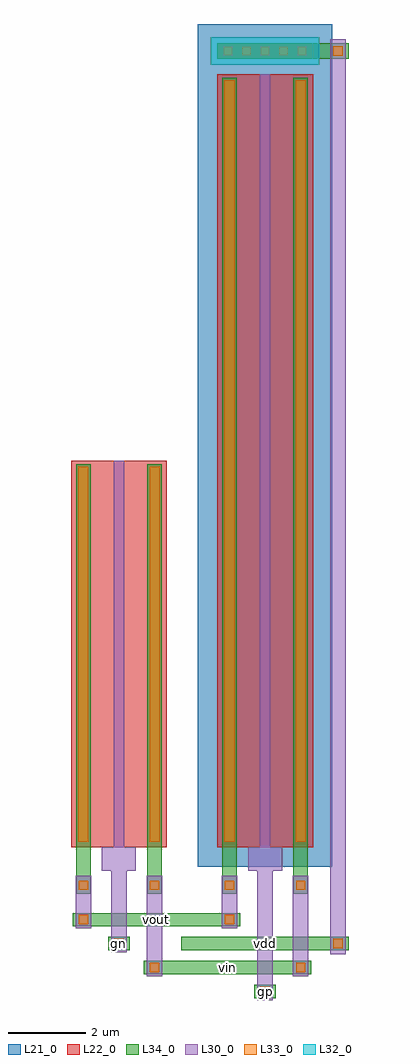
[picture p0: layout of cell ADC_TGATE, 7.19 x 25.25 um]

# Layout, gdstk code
import gdstk
lib = gdstk.Library(unit=1e-6, precision=1e-09)
def R(c, l, rs):  # rectangles x0, y0, x1, y1
    for r in rs: c.add(gdstk.rectangle(r[:2], r[2:], *l))
def A(c, l, x, y, w, h, nx, ny, dx, dy):  # array of equal rectangles
    R(c, l, [(x+i*dx, y+j*dy, x+i*dx+w, y+j*dy+h) for i in range(nx) for j in range(ny)])
L21_0 = (21, 0)
L22_0 = (22, 0)
L30_0 = (30, 0)
L32_0 = (32, 0)
L33_0 = (33, 0)
L34_0 = (34, 0)

adc_tgate = lib.new_cell('ADC_TGATE')
R(adc_tgate, L21_0, [(3.28,-0.5,6.76,21.3)])
R(adc_tgate, L22_0, [(0,0,2.48,10), (3.78,0,6.26,20), (3.78,20.4,6.26,20.8)])
R(adc_tgate, L30_0, [(4.82,-3.95,5.22,-1.2), (1.96,-3.33,2.36,-1.2), (5.74,-3.33,6.14,-1.2), (6.71,-2.76,7.11,20.9), (1.04,-2.71,1.44,-1.2), (0.12,-2.09,0.52,-1.2), (3.9,-2.09,4.3,-1.2), (0.12,-1.2,0.52,-0.74), (1.04,-1.2,1.44,-0.6), (1.96,-1.2,2.36,-0.74), (3.9,-1.2,4.3,-0.74), (4.82,-1.2,5.22,-0.6), (5.74,-1.2,6.14,-0.74), (0.8,-0.6,1.68,0), (4.58,-0.6,5.46,0), (1.1,0,1.38,10), (4.88,0,5.16,20)])
R(adc_tgate, L32_0, [(3.62,20.24,6.42,20.96)])
A(adc_tgate, L33_0, 3.95, 20.49, 0.22, 0.22, 5, 1, 0.48, 0)
R(adc_tgate, L33_0, [(4.9,-3.85,5.14,-3.61), (2.04,-3.23,2.28,-2.99), (5.82,-3.23,6.06,-2.99), (1.12,-2.61,1.36,-2.37), (6.79,-2.61,7.03,-2.37), (0.2,-1.99,0.44,-1.75), (3.98,-1.99,4.22,-1.75), (0.2,-1.1,0.44,-0.86), (2.04,-1.1,2.28,-0.86), (3.98,-1.1,4.22,-0.86), (5.82,-1.1,6.06,-0.86), (0.19,0.15,0.45,9.85), (2.03,0.15,2.29,9.85), (3.97,0.15,4.23,19.85), (5.81,0.15,6.07,19.85), (6.79,20.48,7.03,20.72)])
R(adc_tgate, L34_0, [(4.74,-3.9,5.3,-3.56), (1.88,-3.28,6.22,-2.94), (0.96,-2.66,1.52,-2.32), (2.85,-2.66,7.19,-2.32), (0.04,-2.04,4.38,-1.7), (0.13,-1.2,0.51,0.09), (1.97,-1.2,2.35,0.09), (3.91,-1.2,4.29,0.09), (5.75,-1.2,6.13,0.09), (0.13,0.09,0.51,9.91), (1.97,0.09,2.35,9.91), (3.91,0.09,4.29,19.91), (5.75,0.09,6.13,19.91), (3.78,20.4,6.26,20.8), (3.78,20.4,7.19,20.8)])
adc_tgate.add(gdstk.Label('vout', (2.21,-1.87), layer=34, texttype=10))
adc_tgate.add(gdstk.Label('gn', (1.24,-2.49), layer=34, texttype=10))
adc_tgate.add(gdstk.Label('vin', (4.05,-3.11), layer=34, texttype=10))
adc_tgate.add(gdstk.Label('gp', (5.02,-3.73), layer=34, texttype=10))
adc_tgate.add(gdstk.Label('vdd', (5.02,-2.49), layer=34, texttype=10))

lib.write_gds('ADC_TGATE.gds')
